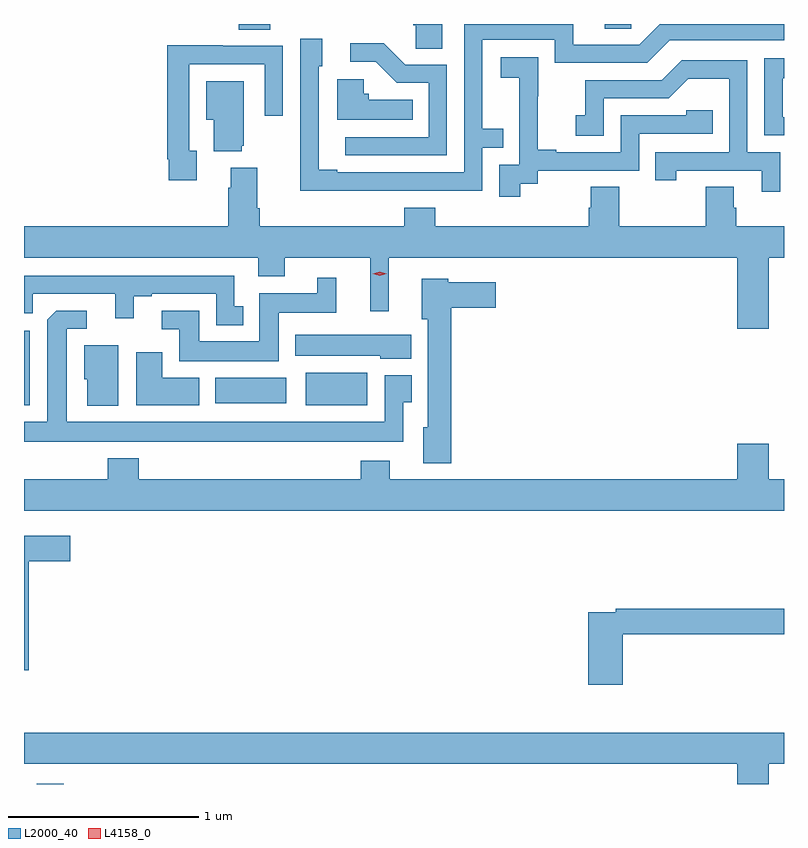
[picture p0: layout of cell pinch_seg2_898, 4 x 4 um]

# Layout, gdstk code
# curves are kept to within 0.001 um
import gdstk
lib = gdstk.Library(unit=1e-6, precision=1e-09)
def R(c, l, rs):  # rectangles x0, y0, x1, y1
    for r in rs: c.add(gdstk.rectangle(r[:2], r[2:], *l))
def P(c, l, *ps):  # polygons
    for p in ps: c.add(gdstk.Polygon(p, *l))
L2000_40 = (2000, 40)
L4158_0 = (4158, 0)

pinch_seg2_898 = lib.new_cell('pinch_seg2_898')
R(pinch_seg2_898, L2000_40, [(413.069,655.521,413.21,655.522), (413.001,657.515,413.032,657.907), (414.485,657.515,414.808,657.685), (414.008,657.524,414.382,657.658), (414.131,659.491,414.296,659.521), (416.057,659.497,416.196,659.521)])
P(pinch_seg2_898, L2000_40, [(415.201,659.521),(415.049,659.521),(415.049,659.515),(415.062,659.515),(415.062,659.392),(415.201,659.392)],
  [(414.917,658.644),(415.413,658.644),(415.413,658.869),(415.523,658.869),(415.523,658.97),(415.413,658.97),(415.413,659.439),(415.794,659.439),(415.794,659.316),(416.28,659.316),(416.4,659.436),(417.001,659.436),(417.001,659.521),(416.347,659.521),(416.238,659.412),(415.891,659.412),(415.891,659.521),(415.317,659.521),(415.317,658.74),(414.649,658.74),(414.649,658.753),(414.552,658.753),(414.552,659.298),(414.571,659.298),(414.571,659.443),(414.456,659.443),(414.456,658.949),(414.454,658.949),(414.454,658.643)],
  [(415.227,659.307),(415.008,659.307),(414.895,659.42),(414.717,659.42),(414.717,659.322),(414.851,659.322),(414.962,659.211),(415.131,659.211),(415.131,658.926),(414.693,658.926),(414.693,658.83),(415.227,658.83)],
  [(413.911,658.854),(413.871,658.854),(413.871,659.31),(414.267,659.31),(414.267,659.037),(414.363,659.037),(414.363,659.406),(414.047,659.406),(414.047,659.408),(413.755,659.408),(413.755,658.81),(413.763,658.81),(413.763,658.698),(413.911,658.698)],
  [(415.612,658.681),(415.704,658.681),(415.704,658.749),(416.238,658.749),(416.238,658.944),(416.627,658.944),(416.627,659.067),(416.487,659.067),(416.487,659.04),(416.142,659.04),(416.142,658.845),(415.801,658.845),(415.801,658.858),(415.706,658.858),(415.706,659.141),(415.707,659.141),(415.707,659.347),(415.509,659.347),(415.509,659.237),(415.607,659.237),(415.607,659.009),(415.608,659.009),(415.608,658.779),(415.503,658.779),(415.503,658.611),(415.612,658.611)],
  [(417.001,659.031),(416.995,659.031),(416.995,659.235),(417.001,659.235),(417.001,659.341),(416.898,659.341),(416.898,658.935),(417.001,658.935)],
  [(416.982,658.845),(416.808,658.845),(416.808,659.331),(416.462,659.331),(416.357,659.226),(415.954,659.226),(415.954,659.041),(415.905,659.041),(415.905,658.932),(416.052,658.932),(416.052,659.13),(416.394,659.13),(416.498,659.234),(416.712,659.234),(416.712,658.845),(416.323,658.845),(416.323,658.698),(416.434,658.698),(416.434,658.749),(416.885,658.749),(416.885,658.638),(416.982,658.638)],
  [(415.046,659.122),(414.816,659.122),(414.816,659.154),(414.789,659.154),(414.789,659.23),(414.65,659.23),(414.65,659.018),(415.046,659.018)],
  [(414.146,658.881),(414.157,658.881),(414.157,659.221),(413.96,659.221),(413.96,659.018),(413.999,659.018),(413.999,658.85),(414.146,658.85)],
  [(416.92,658.292),(417.001,658.292),(417.001,658.456),(416.75,658.456),(416.75,658.554),(416.737,658.554),(416.737,658.664),(416.59,658.664),(416.59,658.456),(416.133,658.456),(416.133,658.664),(415.985,658.664),(415.985,658.554),(415.973,658.554),(415.973,658.456),(415.166,658.456),(415.166,658.555),(415.001,658.555),(415.001,658.456),(414.242,658.456),(414.242,658.552),(414.229,658.552),(414.229,658.765),(414.089,658.765),(414.089,658.658),(414.077,658.658),(414.077,658.456),(413.001,658.456),(413.001,658.292),(414.233,658.292),(414.233,658.193),(414.373,658.193),(414.373,658.292),(414.824,658.292),(414.824,658.008),(414.922,658.008),(414.922,658.292),(416.756,658.292),(416.756,657.918),(416.92,657.918)],
  [(414.154,658.035),(414.108,658.035),(414.108,658.197),(413.001,658.197),(413.001,657.998),(413.046,657.998),(413.046,658.101),(413.48,658.101),(413.48,657.972),(413.578,657.972),(413.578,658.089),(413.674,658.089),(413.674,658.101),(414.012,658.101),(414.012,657.935),(414.154,657.935)],
  [(414.343,658.001),(414.644,658.001),(414.644,658.186),(414.545,658.186),(414.545,658.105),(414.239,658.105),(414.239,657.85),(413.923,657.85),(413.923,658.011),(413.727,658.011),(413.727,657.915),(413.819,657.915),(413.819,657.746),(414.343,657.746)],
  [(415.25,658.028),(415.483,658.028),(415.483,658.162),(415.233,658.162),(415.233,658.18),(415.094,658.18),(415.094,657.966),(415.127,657.966),(415.127,657.399),(415.103,657.399),(415.103,657.209),(415.25,657.209)],
  [(414.997,657.529),(415.042,657.529),(415.042,657.673),(414.9,657.673),(414.9,657.427),(413.227,657.427),(413.227,657.918),(413.332,657.918),(413.332,658.011),(413.17,658.011),(413.124,657.965),(413.123,657.427),(413.001,657.427),(413.001,657.323),(414.997,657.323)],
  [(415.039,657.886),(414.428,657.886),(414.428,657.776),(414.876,657.776),(414.876,657.758),(415.039,657.758)],
  [(413.497,657.829),(413.318,657.829),(413.318,657.651),(413.333,657.651),(413.333,657.512),(413.497,657.512)],
  [(413.923,657.658),(413.728,657.658),(413.728,657.793),(413.591,657.793),(413.591,657.515),(413.923,657.515)],
  [(417.001,657.124),(416.92,657.124),(416.92,657.313),(416.756,657.313),(416.756,657.124),(414.925,657.124),(414.925,657.223),(414.773,657.223),(414.773,657.124),(413.606,657.124),(413.606,657.235),(413.441,657.235),(413.441,657.124),(413.001,657.124),(413.001,656.96),(417.001,656.96)],
  [(413.027,656.693),(413.245,656.693),(413.245,656.827),(413.001,656.827),(413.001,656.12),(413.027,656.12)],
  [(416.153,656.308),(417.001,656.308),(417.001,656.444),(416.116,656.444),(416.116,656.424),(415.97,656.424),(415.97,656.043),(416.153,656.043)],
  [(416.92,655.628),(417.001,655.628),(417.001,655.792),(413.001,655.792),(413.001,655.628),(416.756,655.628),(416.756,655.521),(416.92,655.521)])
P(pinch_seg2_898, L4158_0, [(414.873,658.196),(414.837,658.206),(414.837,658.206),(414.837,658.206),(414.873,658.216),(414.909,658.206),(414.91,658.206),(414.909,658.206)])

lib.write_gds('pinch_seg2_898.gds')
